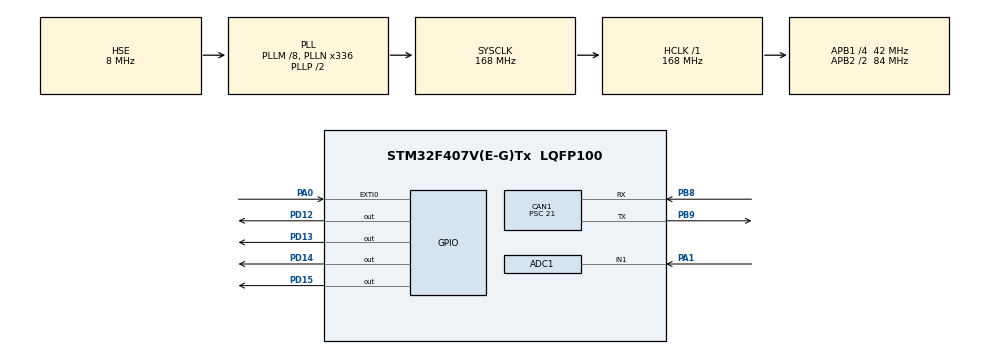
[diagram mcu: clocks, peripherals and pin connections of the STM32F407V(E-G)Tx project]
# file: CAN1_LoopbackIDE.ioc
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ADC1.Channel-2\#ChannelRegularConversion=ADC_CHANNEL_1
ADC1.ContinuousConvMode=ENABLE
ADC1.DMAContinuousRequests=ENABLE
ADC1.InjNumberOfConversion=0
ADC1.NbrOfConversion=1
ADC1.NbrOfConversionFlag=1
ADC1.Rank-2\#ChannelRegularConversion=1
ADC1.SamplingTime-2\#ChannelRegularConversion=ADC_SAMPLETIME_3CYCLES
ADC1.ScanConvMode=DISABLE
ADC1.master=1
CAN1.BS1=CAN_BS1_2TQ
CAN1.CalculateBaudRate=500000
CAN1.CalculateTimeBit=2000
CAN1.CalculateTimeQuantum=500.0
CAN1.Mode=CAN_MODE_NORMAL
CAN1.NART=ENABLE
CAN1.Prescaler=21
CAN1.TXFP=ENABLE
Dma.ADC1.0.Direction=DMA_PERIPH_TO_MEMORY
Dma.ADC1.0.FIFOMode=DMA_FIFOMODE_DISABLE
Dma.ADC1.0.Instance=DMA2_Stream0
Dma.ADC1.0.MemDataAlignment=DMA_MDATAALIGN_HALFWORD
Dma.ADC1.0.MemInc=DMA_MINC_ENABLE
Dma.ADC1.0.Mode=DMA_CIRCULAR
Dma.ADC1.0.PeriphDataAlignment=DMA_PDATAALIGN_HALFWORD
Dma.ADC1.0.PeriphInc=DMA_PINC_DISABLE
Dma.ADC1.0.Priority=DMA_PRIORITY_LOW
Dma.Request0=ADC1
Mcu.Family=STM32F4
Mcu.Name=STM32F407V(E-G)Tx
Mcu.Package=LQFP100
NVIC.ADC_IRQn=true\:0\:0\:false\:false\:true\:true\:true\:true
NVIC.CAN1_RX0_IRQn=true\:0\:0\:false\:false\:true\:true\:true\:true
NVIC.CAN1_RX1_IRQn=true\:0\:0\:false\:false\:true\:true\:true\:true
NVIC.DMA2_Stream0_IRQn=true\:1\:0\:true\:false\:true\:false\:true\:true
NVIC.EXTI0_IRQn=true\:0\:0\:false\:false\:true\:true\:true\:true
NVIC.PriorityGroup=NVIC_PRIORITYGROUP_4
NVIC.TIM1_UP_TIM10_IRQn=true\:0\:0\:false\:false\:true\:true\:true\:true
PA0-WKUP.Signal=GPXTI0
PA1.Signal=ADCx_IN1
PA13.Mode=Serial_Wire
PA13.Signal=SYS_JTMS-SWDIO
PA14.Mode=Serial_Wire
PA14.Signal=SYS_JTCK-SWCLK
PB8.Mode=CAN_Activate
PB8.Signal=CAN1_RX
PB9.Mode=CAN_Activate
PB9.Signal=CAN1_TX
PD12.Signal=GPIO_Output
PD13.Signal=GPIO_Output
PD14.Signal=GPIO_Output
PD15.Signal=GPIO_Output
PH0-OSC_IN.Mode=HSE-External-Oscillator
PH0-OSC_IN.Signal=RCC_OSC_IN
PH1-OSC_OUT.Mode=HSE-External-Oscillator
PH1-OSC_OUT.Signal=RCC_OSC_OUT
ProjectManager.HeapSize=0x200
ProjectManager.StackSize=0x400
ProjectManager.TargetToolchain=STM32CubeIDE
RCC.48MHZClocksFreq_Value=84000000
RCC.AHBFreq_Value=168000000
RCC.APB1CLKDivider=RCC_HCLK_DIV4
RCC.APB1Freq_Value=42000000
RCC.APB1TimFreq_Value=84000000
RCC.APB2CLKDivider=RCC_HCLK_DIV2
RCC.APB2Freq_Value=84000000
RCC.APB2TimFreq_Value=168000000
RCC.CortexFreq_Value=168000000
RCC.HCLKFreq_Value=168000000
RCC.HSE_VALUE=8000000
RCC.HSI_VALUE=16000000
RCC.LSE_VALUE=32768
RCC.PLLM=8
RCC.PLLN=336
RCC.PLLSourceVirtual=RCC_PLLSOURCE_HSE
RCC.SYSCLKFreq_VALUE=168000000
RCC.SYSCLKSource=RCC_SYSCLKSOURCE_PLLCLK
RCC.VCOOutputFreq_Value=336000000
SH.ADCx_IN1.0=ADC1_IN1,IN1
TIM1.CounterMode=TIM_COUNTERMODE_UP
TIM1.Period=13999
TIM1.Prescaler=2999
VP_TIM1_VS_ClockSourceINT.Mode=Internal
board=custom

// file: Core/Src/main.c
/* USER CODE BEGIN Header */
/**
  ******************************************************************************
  * @file           : main.c
  * @brief          : Main program body
  ******************************************************************************
  * @attention
  *
  * Copyright (c) 2023 STMicroelectronics.
  * All rights reserved.
  *
  * This software is licensed under terms that can be found in the LICENSE file
  * in the root directory of this software component.
  * If no LICENSE file comes with this software, it is provided AS-IS.
  *
  ******************************************************************************
  */
/* USER CODE END Header */
#include "main.h"

/* USER CODE BEGIN Includes */
#include <stdlib.h>
/* USER CODE END Includes */

ADC_HandleTypeDef hadc1;
DMA_HandleTypeDef hdma_adc1;

CAN_HandleTypeDef hcan1;

TIM_HandleTypeDef htim1;

void SystemClock_Config(void);
static void MX_GPIO_Init(void);
static void MX_DMA_Init(void);
static void MX_CAN1_Init(void);
static void MX_ADC1_Init(void);
static void MX_TIM1_Init(void);

/* USER CODE BEGIN 0 */
CAN_TxHeaderTypeDef TxHeader;
CAN_RxHeaderTypeDef RxHeader;

uint32_t TxMailbox;

uint8_t TxData[8];
uint8_t RxData[8];

uint8_t TIM_cnt = 0,CAN_TX_count=0;

uint8_t datacheck = 0, count = 0;
uint16_t adc_val = 0, adc_buff = 0, CanRx_ADC_val = 0;

void HAL_CAN_RxFifo0MsgPendingCallback(CAN_HandleTypeDef *hcan)
{
	HAL_CAN_GetRxMessage(&hcan1, CAN_RX_FIFO0, &RxHeader, RxData);
	if (RxHeader.DLC == 2)
	{
		datacheck = 1;
	}

	/*Test ADC send through CAN */
//	if (datacheck)
//	{
//		count++;
//		CanRx_ADC_val = (uint16_t)((RxData[0]<<8) + RxData[1]);
//		datacheck = 0;
//	}

	/* On/OFF LEDs functions */
	if (datacheck)
	{
		if ((RxData[0] & 0b1000) != 0)	//Green LED - ON
			HAL_GPIO_WritePin(GPIOD, GPIO_PIN_12, GPIO_PIN_SET);
		else
			HAL_GPIO_WritePin(GPIOD, GPIO_PIN_12, GPIO_PIN_RESET);

		if ((RxData[0] & 0b0100) != 0)	//Orange LED - ON
			HAL_GPIO_WritePin(GPIOD, GPIO_PIN_13, GPIO_PIN_SET);
		else
			HAL_GPIO_WritePin(GPIOD, GPIO_PIN_13, GPIO_PIN_RESET);

		if ((RxData[0] & 0b0010) != 0)	//Red LED - ON
			HAL_GPIO_WritePin(GPIOD, GPIO_PIN_14, GPIO_PIN_SET);
		else
			HAL_GPIO_WritePin(GPIOD, GPIO_PIN_14, GPIO_PIN_RESET);

		if ((RxData[0] & 0b0001) != 0)	//Blue LED - ON
			HAL_GPIO_WritePin(GPIOD, GPIO_PIN_15, GPIO_PIN_SET);
		else
			HAL_GPIO_WritePin(GPIOD, GPIO_PIN_15, GPIO_PIN_RESET);
	}

}

void HAL_GPIO_EXTI_Callback(uint16_t GPIO_Pin)
{
//	if (GPIO_Pin == GPIO_PIN_0)
//	{
//
//		TxHeader.DLC = 2;
//		TxHeader.ExtId = 0;
//		TxHeader.IDE = CAN_ID_STD;
//		TxHeader.RTR = CAN_RTR_DATA;
//		TxHeader.StdId = 0x0B;
//
//		uint16_t test_adc_val = 3977;
//
//		TxData[0] = (uint8_t)((test_adc_val & 0xFF00) >> 8);
//		TxData[1] = (uint8_t)((test_adc_val & 0x00FF) >> 0);
//
//		if (HAL_CAN_AddTxMessage(&hcan1, &TxHeader, TxData, &TxMailbox) != HAL_OK)
//		{
//		  Error_Handler();
//		}
//	}
}

void HAL_ADC_ConvCpltCallback(ADC_HandleTypeDef* hadc)
{
/* for INTERRUPT uncomment the line below */
	adc_buff = HAL_ADC_GetValue(&hadc1);

/*If continuousconversion mode is DISABLED uncomment below*/
	HAL_ADC_Start_IT (&hadc1);

/* for DMA uncomment the line below */
//		adc_val = adc_buff;

}
void HAL_TIM_PeriodElapsedCallback(TIM_HandleTypeDef *htim)
{

	//if (TIM_cnt++ == 2)
	//{
		//NVIC_SystemReset();
		//TIM_cnt = 0;
	//}
	adc_val = adc_buff;

	TxData[0] = (uint8_t)((adc_val & 0xFF00) >> 8);
	TxData[1] = (uint8_t)((adc_val & 0x00FF) >> 0);

	if (HAL_CAN_AddTxMessage(&hcan1, &TxHeader, TxData, &TxMailbox) != HAL_OK)
	{
		NVIC_SystemReset();;
	}
//	else
//	{
//		CAN_TX_count++;
//	}
//	else
//		HAL_GPIO_TogglePin(GPIOD, GPIO_PIN_15);

}
/* USER CODE END 0 */

int main(void)
{

  /* MCU Configuration--------------------------------------------------------*/

  /* Reset of all peripherals, Initializes the Flash interface and the Systick. */
  HAL_Init();

  /* Configure the system clock */
  SystemClock_Config();

  /* Initialize all configured peripherals */
  MX_GPIO_Init();
  MX_DMA_Init();
  MX_CAN1_Init();
  MX_ADC1_Init();
  MX_TIM1_Init();
  /* USER CODE BEGIN 2 */

  /* ADC Start Function */
  /* DMA MODE */
//  HAL_ADC_Start_DMA (&hadc1, (uint32_t *)&adc_buff, 1);
  /* INTERRUPT MODE */
  HAL_ADC_Start_IT (&hadc1);

  /* Timer Start Function */
  HAL_TIM_Base_Start_IT(&htim1);

  /* CAN Start Function */

  HAL_CAN_Start(&hcan1);
  HAL_CAN_ActivateNotification(&hcan1, CAN_IT_RX_FIFO0_MSG_PENDING);

  TxHeader.DLC = 2;
  TxHeader.ExtId = 0;
  TxHeader.IDE = CAN_ID_STD;
  TxHeader.RTR = CAN_RTR_DATA;
  TxHeader.StdId = 0x0B;
  /* USER CODE END 2 */

  /* Infinite loop */
  while (1)
  {

  }
}

void SystemClock_Config(void)
{
  RCC_OscInitTypeDef RCC_OscInitStruct = {0};
  RCC_ClkInitTypeDef RCC_ClkInitStruct = {0};

  /** Configure the main internal regulator output voltage
  */
  __HAL_RCC_PWR_CLK_ENABLE();
  __HAL_PWR_VOLTAGESCALING_CONFIG(PWR_REGULATOR_VOLTAGE_SCALE1);

  /** Initializes the RCC Oscillators according to the specified parameters
  * in the RCC_OscInitTypeDef structure.
  */
  RCC_OscInitStruct.OscillatorType = RCC_OSCILLATORTYPE_HSE;
  RCC_OscInitStruct.HSEState = RCC_HSE_ON;
  RCC_OscInitStruct.PLL.PLLState = RCC_PLL_ON;
  RCC_OscInitStruct.PLL.PLLSource = RCC_PLLSOURCE_HSE;
  RCC_OscInitStruct.PLL.PLLM = 8;
  RCC_OscInitStruct.PLL.PLLN = 336;
  RCC_OscInitStruct.PLL.PLLP = RCC_PLLP_DIV2;
  RCC_OscInitStruct.PLL.PLLQ = 4;
  if (HAL_RCC_OscConfig(&RCC_OscInitStruct) != HAL_OK)
  {
    Error_Handler();
  }

  /** Initializes the CPU, AHB and APB buses clocks
  */
  RCC_ClkInitStruct.ClockType = RCC_CLOCKTYPE_HCLK|RCC_CLOCKTYPE_SYSCLK
                              |RCC_CLOCKTYPE_PCLK1|RCC_CLOCKTYPE_PCLK2;
  RCC_ClkInitStruct.SYSCLKSource = RCC_SYSCLKSOURCE_PLLCLK;
  RCC_ClkInitStruct.AHBCLKDivider = RCC_SYSCLK_DIV1;
  RCC_ClkInitStruct.APB1CLKDivider = RCC_HCLK_DIV4;
  RCC_ClkInitStruct.APB2CLKDivider = RCC_HCLK_DIV2;

  if (HAL_RCC_ClockConfig(&RCC_ClkInitStruct, FLASH_LATENCY_5) != HAL_OK)
  {
    Error_Handler();
  }
}

static void MX_ADC1_Init(void)
{

  ADC_ChannelConfTypeDef sConfig = {0};

  /** Configure the global features of the ADC (Clock, Resolution, Data Alignment and number of conversion)
  */
  hadc1.Instance = ADC1;
  hadc1.Init.ClockPrescaler = ADC_CLOCK_SYNC_PCLK_DIV4;
  hadc1.Init.Resolution = ADC_RESOLUTION_12B;
  hadc1.Init.ScanConvMode = DISABLE;
  hadc1.Init.ContinuousConvMode = ENABLE;
  hadc1.Init.DiscontinuousConvMode = DISABLE;
  hadc1.Init.ExternalTrigConvEdge = ADC_EXTERNALTRIGCONVEDGE_NONE;
  hadc1.Init.ExternalTrigConv = ADC_SOFTWARE_START;
  hadc1.Init.DataAlign = ADC_DATAALIGN_RIGHT;
  hadc1.Init.NbrOfConversion = 1;
  hadc1.Init.DMAContinuousRequests = ENABLE;
  hadc1.Init.EOCSelection = ADC_EOC_SINGLE_CONV;
  if (HAL_ADC_Init(&hadc1) != HAL_OK)
  {
    Error_Handler();
  }

  /** Configure for the selected ADC regular channel its corresponding rank in the sequencer and its sample time.
  */
  sConfig.Channel = ADC_CHANNEL_1;
  sConfig.Rank = 1;
  sConfig.SamplingTime = ADC_SAMPLETIME_3CYCLES;
  if (HAL_ADC_ConfigChannel(&hadc1, &sConfig) != HAL_OK)
  {
    Error_Handler();
  }

}

static void MX_CAN1_Init(void)
{

  hcan1.Instance = CAN1;
  hcan1.Init.Prescaler = 21;
  hcan1.Init.Mode = CAN_MODE_NORMAL;
  hcan1.Init.SyncJumpWidth = CAN_SJW_1TQ;
  hcan1.Init.TimeSeg1 = CAN_BS1_2TQ;
  hcan1.Init.TimeSeg2 = CAN_BS2_1TQ;
  hcan1.Init.TimeTriggeredMode = DISABLE;
  hcan1.Init.AutoBusOff = DISABLE;
  hcan1.Init.AutoWakeUp = DISABLE;
  hcan1.Init.AutoRetransmission = ENABLE;
  hcan1.Init.ReceiveFifoLocked = DISABLE;
  hcan1.Init.TransmitFifoPriority = ENABLE;
  if (HAL_CAN_Init(&hcan1) != HAL_OK)
  {
    Error_Handler();
  }
  /* USER CODE BEGIN CAN1_Init 2 */

  CAN_FilterTypeDef canfilterconfig;
  canfilterconfig.FilterActivation = CAN_FILTER_ENABLE;
  canfilterconfig.FilterBank = 10;
  canfilterconfig.FilterFIFOAssignment = CAN_RX_FIFO0;
  canfilterconfig.FilterIdHigh = 0x0A<<5;											/******************/
  canfilterconfig.FilterIdLow =  0x0000;
  canfilterconfig.FilterMaskIdHigh = 0x0A<<5;										/******************/
  canfilterconfig.FilterMaskIdLow = 0x0000;
  canfilterconfig.FilterMode = CAN_FILTERMODE_IDMASK;
  canfilterconfig.FilterScale = CAN_FILTERSCALE_32BIT;
  canfilterconfig.SlaveStartFilterBank = 0;

  HAL_CAN_ConfigFilter(&hcan1, &canfilterconfig);

  /* USER CODE END CAN1_Init 2 */

}

static void MX_TIM1_Init(void)
{

  TIM_ClockConfigTypeDef sClockSourceConfig = {0};
  TIM_MasterConfigTypeDef sMasterConfig = {0};

  htim1.Instance = TIM1;
  htim1.Init.Prescaler = 2999;
  htim1.Init.CounterMode = TIM_COUNTERMODE_UP;
  htim1.Init.Period = 13999;
  htim1.Init.ClockDivision = TIM_CLOCKDIVISION_DIV1;
  htim1.Init.RepetitionCounter = 0;
  htim1.Init.AutoReloadPreload = TIM_AUTORELOAD_PRELOAD_DISABLE;
  if (HAL_TIM_Base_Init(&htim1) != HAL_OK)
  {
    Error_Handler();
  }
  sClockSourceConfig.ClockSource = TIM_CLOCKSOURCE_INTERNAL;
  if (HAL_TIM_ConfigClockSource(&htim1, &sClockSourceConfig) != HAL_OK)
  {
    Error_Handler();
  }
  sMasterConfig.MasterOutputTrigger = TIM_TRGO_RESET;
  sMasterConfig.MasterSlaveMode = TIM_MASTERSLAVEMODE_DISABLE;
  if (HAL_TIMEx_MasterConfigSynchronization(&htim1, &sMasterConfig) != HAL_OK)
  {
    Error_Handler();
  }

}

static void MX_DMA_Init(void)
{

  /* DMA controller clock enable */
  __HAL_RCC_DMA2_CLK_ENABLE();

  /* DMA interrupt init */
  /* DMA2_Stream0_IRQn interrupt configuration */
  HAL_NVIC_SetPriority(DMA2_Stream0_IRQn, 1, 0);
  HAL_NVIC_EnableIRQ(DMA2_Stream0_IRQn);

}

static void MX_GPIO_Init(void)
{
  GPIO_InitTypeDef GPIO_InitStruct = {0};

  /* GPIO Ports Clock Enable */
  __HAL_RCC_GPIOH_CLK_ENABLE();
  __HAL_RCC_GPIOA_CLK_ENABLE();
  __HAL_RCC_GPIOD_CLK_ENABLE();
  __HAL_RCC_GPIOB_CLK_ENABLE();

  /*Configure GPIO pin Output Level */
  HAL_GPIO_WritePin(GPIOD, GPIO_PIN_12|GPIO_PIN_13|GPIO_PIN_14|GPIO_PIN_15, GPIO_PIN_RESET);

  /*Configure GPIO pin : PA0 */
  GPIO_InitStruct.Pin = GPIO_PIN_0;
  GPIO_InitStruct.Mode = GPIO_MODE_IT_RISING;
  GPIO_InitStruct.Pull = GPIO_NOPULL;
  HAL_GPIO_Init(GPIOA, &GPIO_InitStruct);

  /*Configure GPIO pins : PD12 PD13 PD14 PD15 */
  GPIO_InitStruct.Pin = GPIO_PIN_12|GPIO_PIN_13|GPIO_PIN_14|GPIO_PIN_15;
  GPIO_InitStruct.Mode = GPIO_MODE_OUTPUT_PP;
  GPIO_InitStruct.Pull = GPIO_NOPULL;
  GPIO_InitStruct.Speed = GPIO_SPEED_FREQ_LOW;
  HAL_GPIO_Init(GPIOD, &GPIO_InitStruct);

  /* EXTI interrupt init*/
  HAL_NVIC_SetPriority(EXTI0_IRQn, 0, 0);
  HAL_NVIC_EnableIRQ(EXTI0_IRQn);

}

void Error_Handler(void)
{
  __disable_irq();
  while (1)
  {
  }
}
